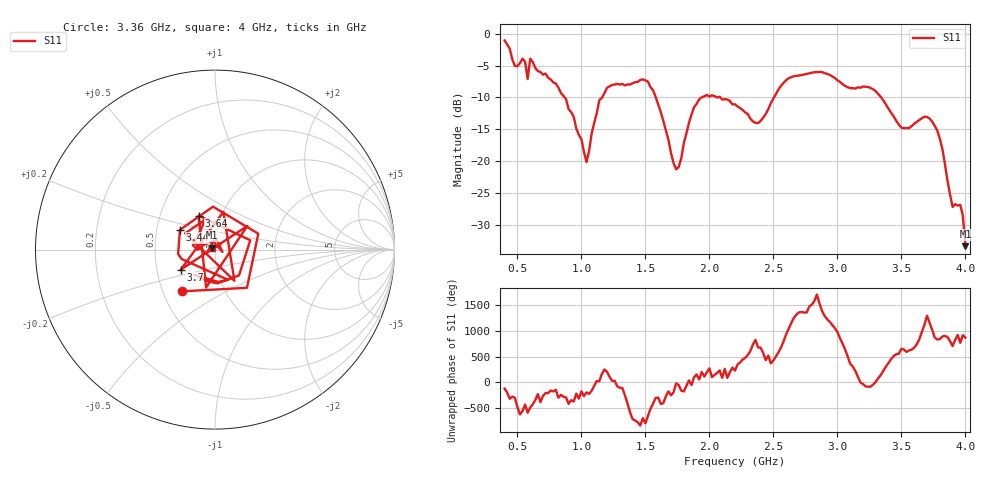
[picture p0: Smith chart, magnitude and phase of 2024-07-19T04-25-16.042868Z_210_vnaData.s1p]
!Created with skrf (http://scikit-rf.org).
# Hz S RI R 50.0
!freq ReS11 ImS11
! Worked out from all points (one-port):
!   181 points, 400 MHz to 4 GHz, reference 50 ohm
!   lowest |S11| = -33.4 dB at 4 GHz (marker M1), VSWR 1.04, Z = 48.2 + j1.11 ohm
!   |S11| at or under -10 dB: 1.581 GHz to 1.939 GHz (357.3 MHz wide, 20.3 % of centre); 2.085 GHz to 2.505 GHz (420 MHz wide, 18.3 % of centre); 3.342 GHz to end of sweep (the widest 3 of 5)
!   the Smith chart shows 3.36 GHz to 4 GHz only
!   S11 on the Smith chart (normalised r, x): 3.36 GHz: 0.62, -0.32; 3.44 GHz: 0.66, +0.15; 3.64 GHz: 0.78, +0.31; 3.7 GHz: 0.66, -0.16; 4 GHz: 0.96, +0.02
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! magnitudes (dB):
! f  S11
! 400 MHz  -1.1
! 480 MHz  -5.0
! 560 MHz  -4.4
! 580 MHz  -7.1
! 600 MHz  -3.9
! 860 MHz  -9.8
! 1.04 GHz  -20.2
! 1.14 GHz  -10.4
! 1.3 GHz  -8.0
! 1.52 GHz  -7.5
! 1.62 GHz  -12.3
! 1.72 GHz  -20.3
! 1.76 GHz  -20.9
! 1.92 GHz  -10.3
! 2.2 GHz  -11.1
! 2.38 GHz  -14.0
! 2.66 GHz  -6.7
! 2.88 GHz  -6.0
! 3.1 GHz  -8.5
! 3.36 GHz  -10.5
! 3.44 GHz  -13.0
! 3.56 GHz  -14.8
! 3.64 GHz  -13.5
! 3.7 GHz  -13.1
! 3.8 GHz  -16.5
! 3.9 GHz  -27.2
! 3.96 GHz  -26.9
! 4 GHz  -33.4
